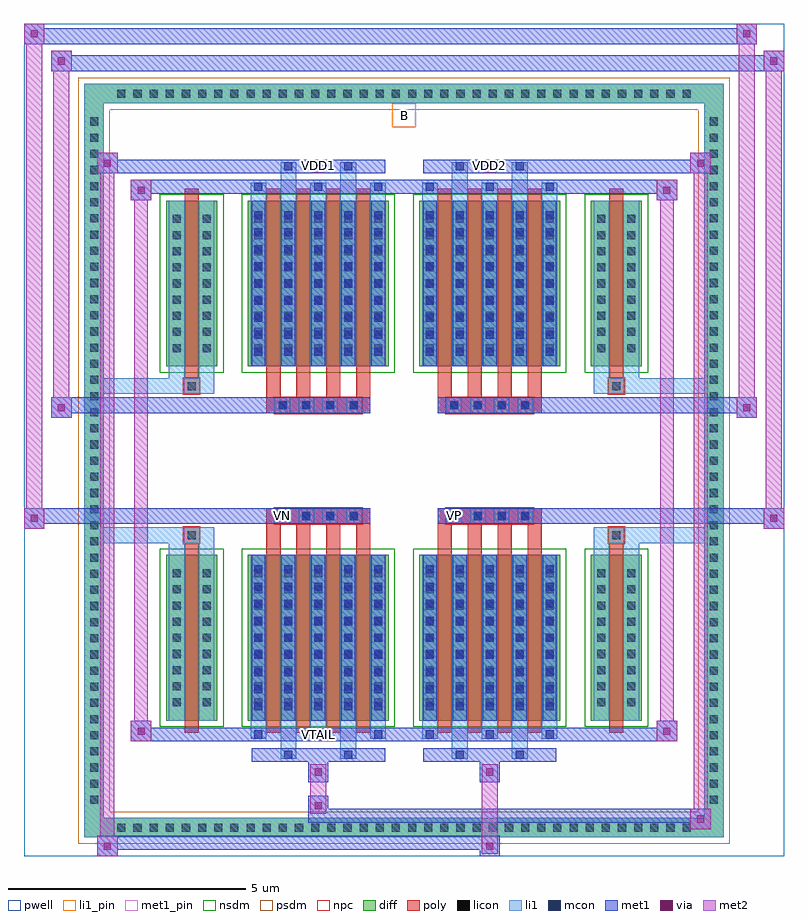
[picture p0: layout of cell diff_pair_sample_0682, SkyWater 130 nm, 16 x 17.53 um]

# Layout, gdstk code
import gdstk
lib = gdstk.Library(unit=1e-6, precision=5e-09)
def R(c, l, rs):  # rectangles x0, y0, x1, y1
    for r in rs: c.add(gdstk.rectangle(r[:2], r[2:], *l))
def A(c, l, x, y, w, h, nx, ny, dx, dy):  # array of equal rectangles
    R(c, l, [(x+i*dx, y+j*dy, x+i*dx+w, y+j*dy+h) for i in range(nx) for j in range(ny)])
def P(c, l, *ps):  # polygons
    for p in ps: c.add(gdstk.Polygon(p, *l))
pwell = (64, 44)
diff = (65, 20)
poly = (66, 20)
licon = (66, 44)
li1_pin = (67, 16)
li1 = (67, 20)
mcon = (67, 44)
met1_pin = (68, 16)
met1 = (68, 20)
via = (68, 44)
met2 = (69, 20)
nsdm = (93, 44)
psdm = (94, 20)
npc = (95, 20)

diff_pair_sample_0682 = lib.new_cell('diff_pair_sample_0682')
R(diff_pair_sample_0682, pwell, [(-8,-8.33,8,9.2), (-5.32,-6.52,-0.01,-0.8), (0.01,-6.52,5.32,-0.8), (-5.32,0.8,-0.01,6.52), (0.01,0.8,5.32,6.52)])
A(diff_pair_sample_0682, diff, -6.155, -7.93, 0.41, 0.41, 36, 2, 0.34, 15.45)
A(diff_pair_sample_0682, diff, -6.73, -7.345, 0.41, 0.41, 1, 43, 0, 0.34)
A(diff_pair_sample_0682, diff, 6.32, -7.345, 0.41, 0.41, 1, 43, 0, 0.34)
R(diff_pair_sample_0682, diff, [(-6.155,-7.93,6.155,-7.52), (-6.73,-7.345,-6.32,7.345), (6.32,-7.345,6.73,7.345), (-5.01,-5.475,-3.93,-1.985), (-3.29,-5.475,-0.32,-1.985), (0.32,-5.475,3.29,-1.985), (3.93,-5.475,5.01,-1.985), (-5.01,1.985,-3.93,5.475), (-3.29,1.985,-0.32,5.475), (0.32,1.985,3.29,5.475), (3.93,1.985,5.01,5.475), (-6.155,7.52,6.155,7.93)])
P(diff_pair_sample_0682, diff, [(6.73,7.93),(-6.73,7.93),(-6.73,-7.52),(-6.32,-7.52),(-6.32,7.52),(6.32,7.52),(6.32,-7.52),(-6.32,-7.52),(-6.73,-7.52),(-6.73,-7.93),(6.73,-7.93)])
A(diff_pair_sample_0682, poly, -2.9, -5.725, 0.3, 3.99, 4, 2, 0.63, 7.46)
A(diff_pair_sample_0682, poly, 0.71, -5.725, 0.3, 3.99, 4, 2, 0.63, 7.46)
A(diff_pair_sample_0682, poly, -2.9, -1.735, 0.3, 0.405, 4, 2, 0.63, 3.065)
A(diff_pair_sample_0682, poly, 0.71, -1.735, 0.3, 0.405, 4, 2, 0.63, 3.065)
A(diff_pair_sample_0682, poly, -2.72, -1.33, 0.33, 0.33, 4, 2, 0.5, 2.33)
A(diff_pair_sample_0682, poly, 0.89, -1.33, 0.33, 0.33, 4, 2, 0.5, 2.33)
R(diff_pair_sample_0682, poly, [(-4.62,-5.725,-4.32,-1.735), (4.32,-5.725,4.62,-1.735), (-4.635,-1.735,-4.305,-1.405), (-4.635,-1.735,-4.305,-1.405), (4.305,-1.735,4.635,-1.405), (4.305,-1.735,4.635,-1.405), (-2.9,-1.33,-0.71,-1), (0.71,-1.33,2.9,-1), (-2.9,1,-0.71,1.33), (0.71,1,2.9,1.33), (-4.635,1.405,-4.305,1.735), (-4.635,1.405,-4.305,1.735), (4.305,1.405,4.635,1.735), (4.305,1.405,4.635,1.735), (-4.62,1.735,-4.32,5.725), (4.32,1.735,4.62,5.725)])
A(diff_pair_sample_0682, licon, -6.035, -7.81, 0.17, 0.17, 36, 2, 0.34, 15.45)
A(diff_pair_sample_0682, licon, -6.61, -7.225, 0.17, 0.17, 1, 43, 0, 0.34)
A(diff_pair_sample_0682, licon, 6.44, -7.225, 0.17, 0.17, 1, 43, 0, 0.34)
A(diff_pair_sample_0682, licon, -4.87, -5.175, 0.17, 0.17, 1, 9, 0, 0.34)
A(diff_pair_sample_0682, licon, -4.24, -5.175, 0.17, 0.17, 1, 9, 0, 0.34)
A(diff_pair_sample_0682, licon, -3.15, -5.175, 0.17, 0.17, 5, 9, 0.63, 0.34)
A(diff_pair_sample_0682, licon, 0.46, -5.175, 0.17, 0.17, 5, 9, 0.63, 0.34)
A(diff_pair_sample_0682, licon, 4.07, -5.175, 0.17, 0.17, 1, 9, 0, 0.34)
A(diff_pair_sample_0682, licon, 4.7, -5.175, 0.17, 0.17, 1, 9, 0, 0.34)
A(diff_pair_sample_0682, licon, -2.64, -1.25, 0.17, 0.17, 4, 2, 0.5, 2.33)
A(diff_pair_sample_0682, licon, 0.97, -1.25, 0.17, 0.17, 4, 2, 0.5, 2.33)
A(diff_pair_sample_0682, licon, -4.87, 2.285, 0.17, 0.17, 1, 9, 0, 0.34)
A(diff_pair_sample_0682, licon, -4.24, 2.285, 0.17, 0.17, 1, 9, 0, 0.34)
A(diff_pair_sample_0682, licon, -3.15, 2.285, 0.17, 0.17, 5, 9, 0.63, 0.34)
A(diff_pair_sample_0682, licon, 0.46, 2.285, 0.17, 0.17, 5, 9, 0.63, 0.34)
A(diff_pair_sample_0682, licon, 4.07, 2.285, 0.17, 0.17, 1, 9, 0, 0.34)
A(diff_pair_sample_0682, licon, 4.7, 2.285, 0.17, 0.17, 1, 9, 0, 0.34)
R(diff_pair_sample_0682, licon, [(-4.555,-1.655,-4.385,-1.485), (4.385,-1.655,4.555,-1.485), (-4.555,1.485,-4.385,1.655), (4.385,1.485,4.555,1.655)])
R(diff_pair_sample_0682, li1_pin, [(-0.25,7.02,0.25,7.52)])
A(diff_pair_sample_0682, li1, -6.115, -7.89, 0.33, 0.33, 36, 2, 0.34, 15.45)
A(diff_pair_sample_0682, li1, -6.69, -7.305, 0.33, 0.33, 1, 43, 0, 0.34)
A(diff_pair_sample_0682, li1, 6.36, -7.305, 0.33, 0.33, 1, 43, 0, 0.34)
A(diff_pair_sample_0682, li1, -3.23, -5.85, 0.33, 0.375, 3, 2, 1.26, 11.325)
A(diff_pair_sample_0682, li1, -3.15, -5.85, 0.17, 0.17, 3, 2, 1.26, 11.53)
A(diff_pair_sample_0682, li1, 0.38, -5.85, 0.33, 0.375, 3, 2, 1.26, 11.325)
A(diff_pair_sample_0682, li1, 0.46, -5.85, 0.17, 0.17, 3, 2, 1.26, 11.53)
A(diff_pair_sample_0682, li1, -3.23, -5.475, 0.33, 3.49, 5, 2, 0.63, 7.46)
A(diff_pair_sample_0682, li1, 0.38, -5.475, 0.33, 3.49, 5, 2, 0.63, 7.46)
A(diff_pair_sample_0682, li1, -4.95, -5.255, 0.33, 0.33, 1, 9, 0, 0.34)
A(diff_pair_sample_0682, li1, -4.32, -5.255, 0.33, 0.33, 1, 9, 0, 0.34)
A(diff_pair_sample_0682, li1, -3.23, -5.255, 0.33, 0.33, 5, 9, 0.63, 0.34)
A(diff_pair_sample_0682, li1, -3.15, -5.255, 0.17, 0.17, 5, 9, 0.63, 0.36)
A(diff_pair_sample_0682, li1, -3.15, -5.255, 0.17, 3.05, 5, 2, 0.63, 7.46)
A(diff_pair_sample_0682, li1, 0.38, -5.255, 0.33, 0.33, 5, 9, 0.63, 0.34)
A(diff_pair_sample_0682, li1, 0.46, -5.255, 0.17, 0.17, 5, 9, 0.63, 0.36)
A(diff_pair_sample_0682, li1, 0.46, -5.255, 0.17, 3.05, 5, 2, 0.63, 7.46)
A(diff_pair_sample_0682, li1, 3.99, -5.255, 0.33, 0.33, 1, 9, 0, 0.34)
A(diff_pair_sample_0682, li1, 4.62, -5.255, 0.33, 0.33, 1, 9, 0, 0.34)
A(diff_pair_sample_0682, li1, -2.72, -1.33, 0.33, 0.33, 4, 2, 0.5, 2.33)
A(diff_pair_sample_0682, li1, 0.89, -1.33, 0.33, 0.33, 4, 2, 0.5, 2.33)
A(diff_pair_sample_0682, li1, -4.95, 2.205, 0.33, 0.33, 1, 9, 0, 0.34)
A(diff_pair_sample_0682, li1, -4.32, 2.205, 0.33, 0.33, 1, 9, 0, 0.34)
A(diff_pair_sample_0682, li1, -3.23, 2.205, 0.33, 0.33, 5, 9, 0.63, 0.34)
A(diff_pair_sample_0682, li1, -3.15, 2.205, 0.17, 0.17, 5, 9, 0.63, 0.36)
A(diff_pair_sample_0682, li1, 0.38, 2.205, 0.33, 0.33, 5, 9, 0.63, 0.34)
A(diff_pair_sample_0682, li1, 0.46, 2.205, 0.17, 0.17, 5, 9, 0.63, 0.36)
A(diff_pair_sample_0682, li1, 3.99, 2.205, 0.33, 0.33, 1, 9, 0, 0.34)
A(diff_pair_sample_0682, li1, 4.62, 2.205, 0.33, 0.33, 1, 9, 0, 0.34)
R(diff_pair_sample_0682, li1, [(-6.73,-7.93,-6.32,-7.52), (-6.73,-7.93,-6.32,-7.52), (-6.32,-7.93,6.32,-7.52), (6.32,-7.93,6.73,-7.52), (6.32,-7.93,6.73,-7.52), (-6.73,-7.52,-6.32,7.52), (6.32,-7.52,6.73,7.52), (-2.6,-6.28,-2.27,-5.475), (-2.52,-6.28,-2.35,-6.11), (-1.34,-6.28,-1.01,-5.475), (-1.26,-6.28,-1.09,-6.11), (1.01,-6.28,1.34,-5.475), (1.09,-6.28,1.26,-6.11), (2.27,-6.28,2.6,-5.475), (2.35,-6.28,2.52,-6.11), (-4.95,-5.475,-4.62,-1.985), (-4.32,-5.475,-3.99,-1.985), (3.99,-5.475,4.32,-1.985), (4.62,-5.475,4.95,-1.985), (-4.95,-1.985,-4.62,-1.405), (-4.32,-1.985,-3.99,-1.405), (3.99,-1.985,4.32,-1.405), (4.62,-1.985,4.95,-1.405), (-6.73,-1.735,-4.635,-1.405), (-4.95,-1.735,-4.635,-1.405), (-4.635,-1.735,-4.305,-1.405), (-4.305,-1.735,-3.99,-1.405), (3.99,-1.735,4.305,-1.405), (4.305,-1.735,4.635,-1.405), (4.305,-1.735,6.73,-1.405), (4.635,-1.735,4.95,-1.405), (-6.73,1.405,-4.635,1.735), (-4.95,1.405,-4.635,1.735), (-4.95,1.405,-4.62,1.985), (-4.635,1.405,-4.305,1.735), (-4.32,1.405,-3.99,1.985), (-4.305,1.405,-3.99,1.735), (3.99,1.405,4.305,1.735), (3.99,1.405,4.32,1.985), (4.305,1.405,4.635,1.735), (4.305,1.405,6.73,1.735), (4.62,1.405,4.95,1.985), (4.635,1.405,4.95,1.735), (-4.95,1.985,-4.62,5.475), (-4.32,1.985,-3.99,5.475), (3.99,1.985,4.32,5.475), (4.62,1.985,4.95,5.475), (-2.6,5.475,-2.27,6.28), (-1.34,5.475,-1.01,6.28), (1.01,5.475,1.34,6.28), (2.27,5.475,2.6,6.28), (-2.52,6.11,-2.35,6.28), (-1.26,6.11,-1.09,6.28), (1.09,6.11,1.26,6.28), (2.35,6.11,2.52,6.28), (-6.73,7.52,-6.32,7.93), (-6.73,7.52,-6.32,7.93), (-6.32,7.52,6.32,7.93), (6.32,7.52,6.73,7.93), (6.32,7.52,6.73,7.93)])
A(diff_pair_sample_0682, mcon, -3.15, -5.85, 0.17, 0.17, 3, 2, 1.26, 11.53)
A(diff_pair_sample_0682, mcon, 0.46, -5.85, 0.17, 0.17, 3, 2, 1.26, 11.53)
A(diff_pair_sample_0682, mcon, -3.15, -5.255, 0.17, 0.17, 5, 9, 0.63, 0.36)
A(diff_pair_sample_0682, mcon, 0.46, -5.255, 0.17, 0.17, 5, 9, 0.63, 0.36)
A(diff_pair_sample_0682, mcon, -2.64, -1.25, 0.17, 0.17, 4, 2, 0.5, 2.33)
A(diff_pair_sample_0682, mcon, 0.97, -1.25, 0.17, 0.17, 4, 2, 0.5, 2.33)
A(diff_pair_sample_0682, mcon, -3.15, 2.205, 0.17, 0.17, 5, 9, 0.63, 0.36)
A(diff_pair_sample_0682, mcon, 0.46, 2.205, 0.17, 0.17, 5, 9, 0.63, 0.36)
R(diff_pair_sample_0682, mcon, [(-2.52,-6.28,-2.35,-6.11), (-1.26,-6.28,-1.09,-6.11), (1.09,-6.28,1.26,-6.11), (2.35,-6.28,2.52,-6.11), (-2.52,6.11,-2.35,6.28), (-1.26,6.11,-1.09,6.28), (1.09,6.11,1.26,6.28), (2.35,6.11,2.52,6.28)])
R(diff_pair_sample_0682, met1_pin, [(-1.94,-5.89,-1.67,-5.62), (-2.69,-1.29,-2.42,-1.02), (0.92,-1.29,1.19,-1.02), (-1.94,6.07,-1.67,6.34), (1.67,6.07,1.94,6.34)])
A(diff_pair_sample_0682, met1, -3.21, -5.91, 0.29, 0.29, 3, 2, 1.26, 11.53)
A(diff_pair_sample_0682, met1, 0.4, -5.91, 0.29, 0.29, 3, 2, 1.26, 11.53)
A(diff_pair_sample_0682, met1, -3.21, -5.475, 0.29, 3.49, 5, 2, 0.63, 7.46)
A(diff_pair_sample_0682, met1, 0.4, -5.475, 0.29, 3.49, 5, 2, 0.63, 7.46)
A(diff_pair_sample_0682, met1, -3.21, -5.315, 0.29, 0.29, 5, 9, 0.63, 0.36)
A(diff_pair_sample_0682, met1, 0.4, -5.315, 0.29, 0.29, 5, 9, 0.63, 0.36)
A(diff_pair_sample_0682, met1, -2.7, -1.31, 0.29, 0.29, 4, 2, 0.5, 2.33)
A(diff_pair_sample_0682, met1, 0.91, -1.31, 0.29, 0.29, 4, 2, 0.5, 2.33)
A(diff_pair_sample_0682, met1, -3.21, 2.145, 0.29, 0.29, 5, 9, 0.63, 0.36)
A(diff_pair_sample_0682, met1, 0.4, 2.145, 0.29, 0.29, 5, 9, 0.63, 0.36)
R(diff_pair_sample_0682, met1, [(-6.46,-8.33,-6.03,-7.9), (1.59,-8.33,2.02,-7.9), (-6.46,-8.19,2.02,-7.9), (6.03,-7.76,6.46,-7.33), (-2.02,-7.62,6.46,-7.33), (-2.02,-7.48,-1.59,-7.05), (-2.02,-6.77,-1.59,-6.34), (1.59,-6.77,2.02,-6.34), (-3.21,-6.34,-0.4,-6.05), (-2.58,-6.34,-2.29,-6.05), (-1.32,-6.34,-1.03,-6.05), (0.4,-6.34,3.21,-6.05), (1.03,-6.34,1.32,-6.05), (2.29,-6.34,2.58,-6.05), (-5.75,-5.91,-5.32,-5.48), (-5.75,-5.91,-3.21,-5.62), (-3.21,-5.91,-0.4,-5.62), (-0.4,-5.91,0.4,-5.62), (0.4,-5.91,3.21,-5.62), (3.21,-5.91,5.75,-5.62), (5.32,-5.91,5.75,-5.48), (-8,-1.43,-7.57,-1), (7.57,-1.43,8,-1), (-8,-1.33,-0.71,-1), (-2.9,-1.33,-0.71,-1), (0.71,-1.33,2.9,-1), (0.71,-1.33,8,-1), (-7.43,0.9,-7,1.33), (7,0.9,7.43,1.33), (-7.43,1,-2.9,1.33), (-2.9,1,-0.71,1.33), (0.71,1,2.9,1.33), (2.9,1,7.43,1.33), (-5.75,5.48,-5.32,5.91), (5.32,5.48,5.75,5.91), (-5.75,5.62,-3.21,5.91), (-3.21,5.62,-0.4,5.91), (-0.4,5.62,0.4,5.91), (0.4,5.62,3.21,5.91), (3.21,5.62,5.75,5.91), (-6.46,6.05,-6.03,6.48), (-6.46,6.05,-3.21,6.34), (-3.21,6.05,-0.4,6.34), (-2.58,6.05,-2.29,6.34), (-1.32,6.05,-1.03,6.34), (0.4,6.05,3.21,6.34), (1.03,6.05,1.32,6.34), (2.29,6.05,2.58,6.34), (3.21,6.05,6.46,6.34), (6.03,6.05,6.46,6.48), (-7.43,8.2,-7,8.63), (-7.43,8.2,-5.32,8.53), (-5.32,8.2,5.32,8.53), (5.32,8.2,8,8.53), (7.57,8.2,8,8.63), (-8,8.77,-7.57,9.2), (-8,8.77,-5.32,9.1), (-5.32,8.77,5.32,9.1), (5.32,8.77,7.43,9.1), (7,8.77,7.43,9.2)])
R(diff_pair_sample_0682, via, [(-6.32,-8.19,-6.17,-8.04), (1.73,-8.19,1.88,-8.04), (6.17,-7.62,6.32,-7.47), (-1.88,-7.34,-1.73,-7.19), (-1.88,-6.63,-1.73,-6.48), (1.73,-6.63,1.88,-6.48), (-5.61,-5.77,-5.46,-5.62), (5.46,-5.77,5.61,-5.62), (-7.86,-1.29,-7.71,-1.14), (7.71,-1.29,7.86,-1.14), (-7.29,1.04,-7.14,1.19), (7.14,1.04,7.29,1.19), (-5.61,5.62,-5.46,5.77), (5.46,5.62,5.61,5.77), (-6.32,6.19,-6.17,6.34), (6.17,6.19,6.32,6.34), (-7.29,8.34,-7.14,8.49), (7.71,8.34,7.86,8.49), (-7.86,8.91,-7.71,9.06), (7.14,8.91,7.29,9.06)])
R(diff_pair_sample_0682, met2, [(-6.46,-8.33,-6.03,-7.9), (-6.39,-8.33,-6.1,6.48), (-6.1,-8.33,-6.03,-7.9), (-6.41,-8.28,-6.08,-7.95), (1.64,-8.28,1.97,-7.95), (1.64,-7.95,1.97,-6.72), (6.03,-7.76,6.46,-7.33), (6.1,-7.76,6.39,6.48), (6.39,-7.76,6.46,-7.33), (6.08,-7.71,6.41,-7.38), (-1.97,-7.43,-1.64,-7.1), (-1.97,-7.1,-1.64,-6.72), (-1.97,-6.72,-1.64,-6.39), (1.64,-6.72,1.97,-6.39), (-5.75,-5.91,-5.32,-5.48), (-5.68,-5.91,-5.39,5.91), (-5.39,-5.91,-5.32,-5.48), (5.32,-5.91,5.75,-5.48), (5.39,-5.91,5.68,5.91), (5.68,-5.91,5.75,-5.48), (-5.7,-5.86,-5.37,-5.53), (5.37,-5.86,5.7,-5.53), (-8,-1.43,-7.57,-1), (-7.95,-1.43,-7.62,9.2), (-7.62,-1.43,-7.57,-1), (7.57,-1.43,8,-1), (7.62,-1.43,7.95,8.63), (7.95,-1.43,8,-1), (-7.95,-1.38,-7.62,-1.05), (7.62,-1.38,7.95,-1.05), (-7.43,0.9,-7,1.33), (-7.38,0.9,-7.05,8.63), (-7.05,0.9,-7,1.33), (7,0.9,7.43,1.33), (7.05,0.9,7.38,9.2), (7.38,0.9,7.43,1.33), (-7.38,0.95,-7.05,1.28), (7.05,0.95,7.38,1.28), (-5.75,5.48,-5.32,5.91), (-5.39,5.48,-5.32,5.91), (5.32,5.48,5.75,5.91), (5.68,5.48,5.75,5.91), (-5.7,5.53,-5.37,5.86), (5.37,5.53,5.7,5.86), (-6.46,6.05,-6.03,6.48), (-6.1,6.05,-6.03,6.48), (6.03,6.05,6.46,6.48), (6.39,6.05,6.46,6.48), (-6.41,6.1,-6.08,6.43), (6.08,6.1,6.41,6.43), (-7.43,8.2,-7,8.63), (-7.05,8.2,-7,8.63), (7.57,8.2,8,8.63), (7.95,8.2,8,8.63), (-7.38,8.25,-7.05,8.58), (7.62,8.25,7.95,8.58), (-8,8.77,-7.57,9.2), (-7.62,8.77,-7.57,9.2), (7,8.77,7.43,9.2), (7.38,8.77,7.43,9.2), (-7.95,8.82,-7.62,9.15), (7.05,8.82,7.38,9.15)])
R(diff_pair_sample_0682, nsdm, [(-5.14,-5.605,-3.8,-1.855), (-3.42,-5.605,-0.19,-1.855), (0.19,-5.605,3.42,-1.855), (3.8,-5.605,5.14,-1.855), (-5.14,1.855,-3.8,5.605), (-3.42,1.855,-0.19,5.605), (0.19,1.855,3.42,5.605), (3.8,1.855,5.14,5.605)])
P(diff_pair_sample_0682, psdm, [(6.86,8.06),(-6.86,8.06),(-6.86,-7.39),(-6.19,-7.39),(-6.19,7.39),(6.19,7.39),(6.19,-7.39),(-6.19,-7.39),(-6.86,-7.39),(-6.86,-8.06),(6.86,-8.06)])
A(diff_pair_sample_0682, npc, -2.74, -1.35, 0.37, 0.37, 4, 2, 0.5, 2.33)
A(diff_pair_sample_0682, npc, 0.87, -1.35, 0.37, 0.37, 4, 2, 0.5, 2.33)
R(diff_pair_sample_0682, npc, [(-4.655,-1.755,-4.285,-1.385), (4.285,-1.755,4.655,-1.385), (-2.74,-1.35,-1.87,-0.98), (-2.74,-1.35,-1.87,-0.98), (-2.24,-1.35,-1.37,-0.98), (-2.24,-1.35,-1.37,-0.98), (-1.74,-1.35,-0.87,-0.98), (-1.74,-1.35,-0.87,-0.98), (0.87,-1.35,1.74,-0.98), (0.87,-1.35,1.74,-0.98), (1.37,-1.35,2.24,-0.98), (1.37,-1.35,2.24,-0.98), (1.87,-1.35,2.74,-0.98), (1.87,-1.35,2.74,-0.98), (-2.74,0.98,-1.87,1.35), (-2.74,0.98,-1.87,1.35), (-2.24,0.98,-1.37,1.35), (-2.24,0.98,-1.37,1.35), (-1.74,0.98,-0.87,1.35), (-1.74,0.98,-0.87,1.35), (0.87,0.98,1.74,1.35), (0.87,0.98,1.74,1.35), (1.37,0.98,2.24,1.35), (1.37,0.98,2.24,1.35), (1.87,0.98,2.74,1.35), (1.87,0.98,2.74,1.35), (-4.655,1.385,-4.285,1.755), (4.285,1.385,4.655,1.755)])
diff_pair_sample_0682.add(gdstk.Label('VTAIL', (-1.805,-5.755), layer=68, texttype=5))
diff_pair_sample_0682.add(gdstk.Label('VN', (-2.555,-1.155), layer=68, texttype=5))
diff_pair_sample_0682.add(gdstk.Label('VP', (1.055,-1.155), layer=68, texttype=5))
diff_pair_sample_0682.add(gdstk.Label('B', (0,7.27), layer=67, texttype=5))
diff_pair_sample_0682.add(gdstk.Label('VDD2', (1.805,6.205), layer=68, texttype=5))
diff_pair_sample_0682.add(gdstk.Label('VDD1', (-1.805,6.205), layer=68, texttype=5))

lib.write_gds('diff_pair_sample_0682.gds')
